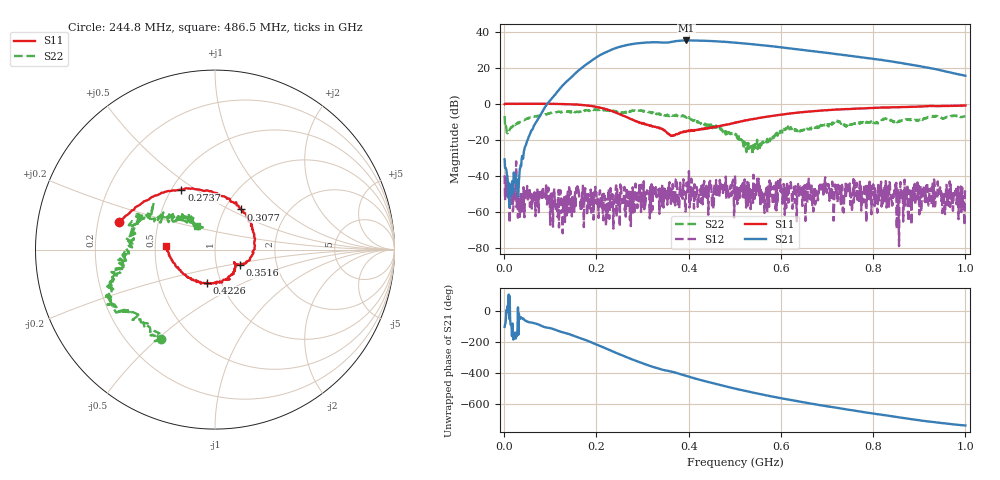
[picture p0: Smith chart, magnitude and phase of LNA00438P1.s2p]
! Created with skrf 1.9.0 (http://scikit-rf.org).
# Hz S RI R 50.0
!freq ReS11 ImS11 ReS21 ImS21 ReS12 ImS12 ReS22 ImS22
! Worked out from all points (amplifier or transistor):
!   1001 points, 1 MHz to 1 GHz, reference 50 ohm
!   highest |S21| = 35.1 dB at 394.6 MHz (marker M1)
!   |S21| within 3 dB of that: 258.8 MHz to 572.2 MHz (313.4 MHz wide, 75.4 % of centre)
!   unconditionally stable (mu >= 1): 230.8 MHz to 284.6 MHz; 293.9 MHz to 373.6 MHz; 400.8 MHz to end of sweep (the widest 3 of 35)
!   at 166.8 MHz: K = 1.70, MAG = 31.5 dB, |S12| = -53.1 dB
!   at 500.5 MHz: K = 1.07, MAG = 35.1 dB, |S12| = -39.6 dB
!   at 1 GHz: K = 2.78, MAG = 24.2 dB, |S12| = -47.5 dB
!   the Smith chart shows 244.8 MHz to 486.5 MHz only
!   S11 on the Smith chart (normalised r, x): 244.8 MHz: 0.29, +0.13; 273.7 MHz: 0.56, +0.44; 307.7 MHz: 1.19, +0.57; 351.6 MHz: 1.30, -0.23; 422.6 MHz: 0.85, -0.33; 486.5 MHz: 0.57, +0.02
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1000000  0.9768 0.0044  -0.00534 -0.0285  -0.0102 0.00256  0.3504 0.2972
1.09891e8  0.5172 -0.8502  -0.8271 -1.558  -0.00144 0.000234  0.4468 -0.3687
1.67833e8  -0.2156 -0.9043  -9.797 -0.7609  -0.00105 0.000675  0.0572 -0.6267
2.1079e8  -0.6662 -0.3798  -15.88 16.98  0.00163 0.00187  -0.206 -0.6541
2.44756e8  -0.5346 0.1553  0.465 35.94  -0.0025 0.00351  -0.2988 -0.499
2.73727e8  -0.1868 0.3325  26.18 35.45  -0.00276 -0.00189  -0.5232 -0.3383
3.07693e8  0.1449 0.2239  47.63 14.14  -0.00349 -0.000434  -0.5911 -0.1963
3.34666e8  0.2209 0.0033  49.44 -8.924  -0.00239 0.00334  -0.5097 -0.0655
3.51649e8  0.14 -0.0875  45.53 -19.06  5.71e-05 0.0038  -0.4868 0.0151
3.72628e8  0.1158 -0.0864  43.38 -32.79  5.48e-05 0.00841  -0.4803 0.1359
3.94606e8  0.0734 -0.1544  30.37 -47.77  0.00404 0.000746  -0.3831 0.1819
4.22578e8  -0.047 -0.184  8.629 -55.31  0.00319 0.00127  -0.2495 0.1784
4.5055e8  -0.1729 -0.1377  -12.25 -53.3  0.000688 0.00136  -0.147 0.1707
4.86514e8  -0.2705 0.0193  -32.21 -39.45  0.00379 0.00195  -0.1018 0.1298
5.005e8  -0.2904 0.0941  -37.6 -32.18  0.00321 0.00995  -0.0849 0.1124
5.4046e8  -0.2253 0.3021  -42.75 -10.9  0.0102 -0.0037  -0.0631 0.0358
5.88412e8  -0.0501 0.4737  -36.73 9.97  0.00111 0.000453  -0.0978 -0.0695
6.67333e8  0.3191 0.5307  -15.31 24.16  -0.00017 -0.00282  -0.2014 -0.0723
7.53247e8  0.6234 0.3662  3.287 20.67  0.00145 0.00142  -0.26 -0.0216
8.34166e8  0.7827 0.1345  10.83 10.69  0.000855 0.000919  -0.3749 -0.0317
9.16084e8  0.8452 -0.1329  9.983 1.642  -0.0044 -0.00244  -0.3845 0.1343
1e9  0.8081 -0.3829  5.686 -1.809  -0.00197 0.00373  -0.3815 0.2512
